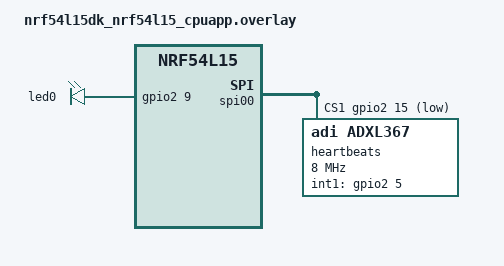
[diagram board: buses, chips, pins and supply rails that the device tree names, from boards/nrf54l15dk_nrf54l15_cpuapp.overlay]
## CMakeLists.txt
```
#-------------------------------------------------------------------------------
# Zephyr Example Application
#
# Copyright (c) 2021 Nordic Semiconductor ASA
# SPDX-License-Identifier: Apache-2.0

# Minimum required version of CMake
cmake_minimum_required(VERSION 3.13.1)

# Find the Zephyr package
find_package(Zephyr REQUIRED HINTS $ENV{ZEPHYR_BASE})

# Project name for the app
project(app LANGUAGES C)

# Include directories
target_include_directories(app PRIVATE include)

# Source files for the app
target_sources(app PRIVATE src/main.c)
target_sources(app PRIVATE src/power_failure/pfc.c)
target_sources(app PRIVATE src/accel/accel.c)
target_sources(app PRIVATE src/accel/filter.c)
target_sources(app PRIVATE src/ble/ble.c)

# Set the target board
set(BOARD nrf54l15dk_nrf54l15)
```

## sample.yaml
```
# This file is provided so that the application can be compiled using Twister,
# the Zephyr testing tool. In this file, multiple combinations can be specified,
# so that you can easily test all of them locally or in CI.
sample:
  description: Earworm firmware application
  name: earworm-app
common:
  sysbuild: true
  build_only: true
  integration_platforms:
    - custom_plank
    - nrf54l15dk/nrf54l15/cpuapp
tests:
  app.default: {}
  app.debug:
    extra_overlay_confs:
      - debug.conf
```

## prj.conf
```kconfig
# Copyright (c) 2021 Nordic Semiconductor ASA
# SPDX-License-Identifier: Apache-2.0
#
# This file contains selected Kconfig options for the application.

#CONFIG_SENSOR=y
#CONFIG_BLINK=y

# Power failure Kconfig options
CONFIG_NRFX_POWER=y
CONFIG_ADC=y
CONFIG_ADC_NRFX_SAADC=y

# ADXL367 Kconfig options
CONFIG_SENSOR=y
CONFIG_SENSOR_ASYNC_API=y
CONFIG_SPI=y
CONFIG_SPI_RTIO=y
CONFIG_ADXL367=y
CONFIG_ADXL367_STREAM=y

# Bluetooth Kconfig options

# Enable the UART driver
CONFIG_UART_ASYNC_API=y
CONFIG_NRFX_UARTE0=y
CONFIG_SERIAL=y

CONFIG_GPIO=y

# Make sure printk is printing to the UART console
CONFIG_CONSOLE=y
CONFIG_UART_CONSOLE=y

CONFIG_HEAP_MEM_POOL_SIZE=2048

CONFIG_BT=y
CONFIG_BT_PERIPHERAL=y
CONFIG_BT_DEVICE_NAME="Nordic_UART_Service"
CONFIG_BT_MAX_CONN=1
CONFIG_BT_MAX_PAIRED=1

# Enable the NUS service
CONFIG_BT_NUS=y

# Enable bonding
CONFIG_BT_SETTINGS=y
CONFIG_FLASH=y
CONFIG_FLASH_PAGE_LAYOUT=y
CONFIG_FLASH_MAP=y

# Enable DK LED and Buttons library
CONFIG_DK_LIBRARY=y

# This example requires more stack
CONFIG_MAIN_STACK_SIZE=1152
CONFIG_SYSTEM_WORKQUEUE_STACK_SIZE=2048

# Config logger
CONFIG_LOG=y
CONFIG_USE_SEGGER_RTT=y
CONFIG_LOG_BACKEND_RTT=y
CONFIG_LOG_BACKEND_UART=n
CONFIG_LOG_PRINTK=n

CONFIG_ASSERT=y

# Use External LF Crystal Oscillator
CONFIG_CLOCK_CONTROL_NRF_LF_CLOCK_LFXO=y

# Add Data Packet Length Extension (DLE) Support
CONFIG_BT_CTLR_DATA_LENGTH_MAX=251
CONFIG_BT_DATA_LEN_UPDATE=y

# Enable Connection Event Length Extension
CONFIG_BT_CTLR_CONN_EVT_LEN_EXT=y
```

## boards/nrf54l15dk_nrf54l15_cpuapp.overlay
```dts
/*
 * Copyright (c) 2024 Nordic Semiconductor ASA
 *
 * SPDX-License-Identifier: LicenseRef-Nordic-5-Clause
 */

&pinctrl {
    spi00_default: spi00_default {
            psels = <NRF_PSEL(SPIM_SCK, 2, 1)>,  /* P2.01 - SCK */
                    <NRF_PSEL(SPIM_MOSI, 2, 2)>, /* P2.02 - MOSI */
                    <NRF_PSEL(SPIM_MISO, 2, 3)>; /* P2.03 - MISO */
    };
    spi00_sleep: spi00_sleep {
            psels = <NRF_PSEL(SPIM_SCK, 2, 1)>,  /* P2.01 - SCK */
                    <NRF_PSEL(SPIM_MOSI, 2, 2)>, /* P2.02 - MOSI */
                    <NRF_PSEL(SPIM_MISO, 2, 3)>; /* P2.03 - MISO */
            low-power-enable;
    };
};

&led0 {
    status = "okay";
    gpios = <&gpio2 9 GPIO_ACTIVE_HIGH>;
};

&spi00 { 
    status = "okay";
    cs-gpios = <&gpio2 5 GPIO_ACTIVE_LOW>,
               <&gpio2 15 GPIO_ACTIVE_LOW>;
     adxl367: adxl367@1 {
             compatible = "adi,adxl367";
             label = "heartbeats";
             reg = <1>;

             /* Configure other ADXL367 properties as needed. */
             spi-max-frequency = <8000000>;
             duplex = <0>; /* full duplex */
             frame-format = <0>; /* Motorola frames */
             spi-hold-cs;
             odr = <2>; /* ODR: 50 Hz */
             int1-gpios = <&gpio2 5 (GPIO_ACTIVE_HIGH | GPIO_PULL_UP)>; /* P2.05 interrupt */
     };
};
```

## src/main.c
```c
/*
 * Copyright (c) 2021 Nordic Semiconductor ASA
 * SPDX-License-Identifier: Apache-2.0
 */

 #include "pfc.h"

 #include <zephyr/kernel.h>
 #include <stdio.h>
 #include <zephyr/drivers/gpio.h>

 
 /* 1000 msec = 1 sec */
 #define SLEEP_TIME_MS   1000
 
 /* The devicetree node identifier for the "led0" alias. */
 #define LED0_NODE DT_ALIAS(led0)
 
 /*
  * A build error on this line means your board is unsupported.
  * See the sample documentation for information on how to fix this.
  */
 static const struct gpio_dt_spec led = GPIO_DT_SPEC_GET(LED0_NODE, gpios);

int main(void)
{
    printk("Initializing Power-Fail Comparator...\n");

	int ret;
	bool led_state = true;

	if (!gpio_is_ready_dt(&led)) {
		return 0;
	}

	ret = gpio_pin_configure_dt(&led, GPIO_OUTPUT_ACTIVE);
	if (ret < 0) {
		return 0;
	}

    configure_pof_interrupt();


    while (1)
    {
        k_sleep(K_SECONDS(1));  // Sleep to reduce CPU usage
    }

	return 0;
}
```

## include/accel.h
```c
#include <zephyr/drivers/sensor/adi/adxl367.h>

#define ADXL367_NODE DT_NODELABEL(adxl367)

const struct device *adxl367_dev;

void check_adxl367(void);
bool setup_adxl367(void);
void retrieve_adxl367_fifo_biffer(void);

// filter
void init_bandpass_filter();

void process_bandpass_filter(float32_t *input, float32_t *output);
```

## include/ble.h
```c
#ifndef BLE_H
#define BLE_H

#include <zephyr/kernel.h>
#include <zephyr/types.h>
#include <zephyr/drivers/uart.h>
#include <zephyr/bluetooth/bluetooth.h>
#include <bluetooth/services/nus.h>
#include <dk_buttons_and_leds.h>
#include <zephyr/settings/settings.h>
#include <stdio.h>
#include <string.h>
#include <zephyr/logging/log.h>

#define STACKSIZE CONFIG_BT_NUS_THREAD_STACK_SIZE
#define PRIORITY 7

#define DEVICE_NAME CONFIG_BT_DEVICE_NAME
#define DEVICE_NAME_LEN (sizeof(DEVICE_NAME) - 1)

#define RUN_STATUS_LED DK_LED1
#define RUN_LED_BLINK_INTERVAL 1000

/* Function prototypes */
void ble_init(void);
void ble_send_thread(void);
void error(void);

#endif /* BLE_H */
```

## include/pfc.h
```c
#include <nrfx_power.h>
#include <zephyr/kernel.h>
#include <stdio.h>
#include <zephyr/drivers/gpio.h>


void pof_deep_sleep(void);
void configure_pof_interrupt(void);
void power_fail_handler(void);
```
